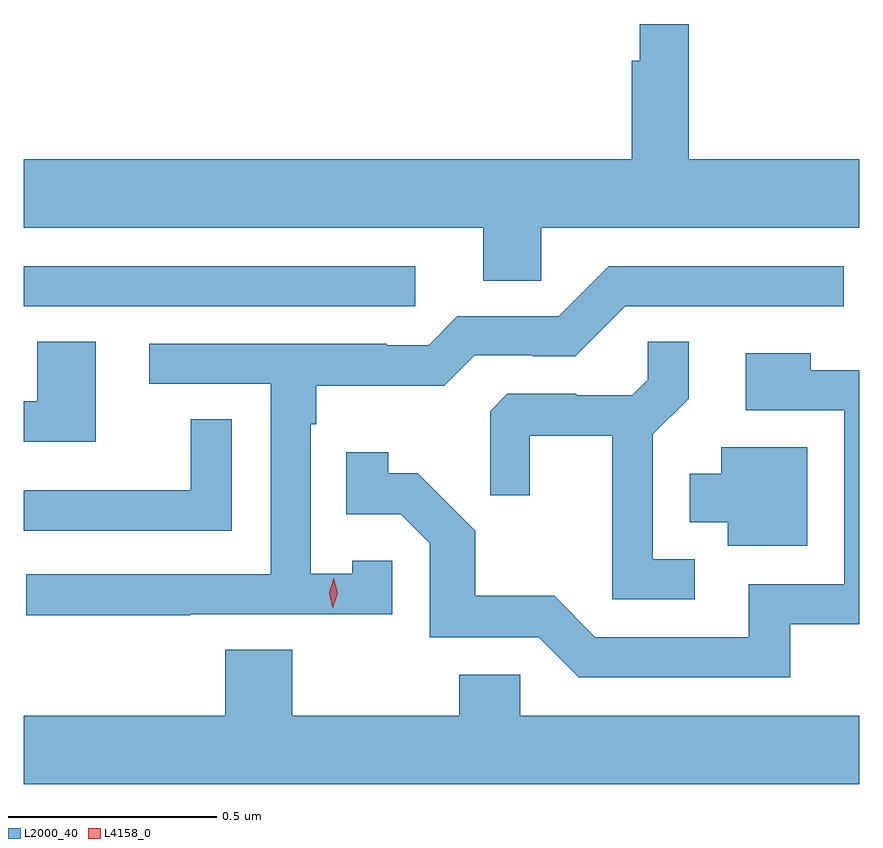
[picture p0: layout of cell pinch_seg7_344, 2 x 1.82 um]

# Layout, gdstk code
import gdstk
lib = gdstk.Library(unit=1e-6, precision=1e-09)
def R(c, l, rs):  # rectangles x0, y0, x1, y1
    for r in rs: c.add(gdstk.rectangle(r[:2], r[2:], *l))
def P(c, l, *ps):  # polygons
    for p in ps: c.add(gdstk.Polygon(p, *l))
L2000_40 = (2000, 40)
L4158_0 = (4158, 0)

pinch_seg7_344 = lib.new_cell('pinch_seg7_344')
R(pinch_seg7_344, L2000_40, [(449.367,1057.704,450.304,1057.8)])
P(pinch_seg7_344, L2000_40, [(450.606,1057.892),(451.367,1057.892),(451.367,1058.056),(450.959,1058.056),(450.959,1058.38),(450.842,1058.38),(450.842,1058.292),(450.823,1058.292),(450.823,1058.056),(449.367,1058.056),(449.367,1057.892),(450.467,1057.892),(450.467,1057.765),(450.606,1057.765)],
  [(449.765,1056.966),(450.249,1056.966),(450.249,1057.095),(450.153,1057.095),(450.153,1057.063),(450.054,1057.063),(450.054,1057.421),(450.067,1057.421),(450.067,1057.514),(450.374,1057.514),(450.447,1057.587),(450.586,1057.587),(450.586,1057.584),(450.687,1057.584),(450.807,1057.704),(451.33,1057.704),(451.33,1057.8),(450.768,1057.8),(450.648,1057.68),(450.405,1057.68),(450.336,1057.611),(450.236,1057.611),(450.236,1057.614),(449.667,1057.614),(449.667,1057.518),(449.958,1057.518),(449.958,1057.062),(449.373,1057.062),(449.373,1056.964),(449.765,1056.964)],
  [(449.539,1057.619),(449.399,1057.619),(449.399,1057.476),(449.367,1057.476),(449.367,1057.38),(449.539,1057.38)],
  [(450.973,1057.098),(450.873,1057.098),(450.873,1057.397),(450.959,1057.483),(450.959,1057.619),(450.861,1057.619),(450.861,1057.528),(450.824,1057.491),(450.69,1057.491),(450.69,1057.494),(450.525,1057.494),(450.484,1057.453),(450.484,1057.251),(450.578,1057.251),(450.578,1057.394),(450.776,1057.394),(450.776,1057.002),(450.973,1057.002)],
  [(451.202,1056.942),(451.367,1056.942),(451.367,1057.551),(451.251,1057.551),(451.251,1057.591),(451.095,1057.591),(451.095,1057.455),(451.332,1057.455),(451.332,1057.038),(451.103,1057.038),(451.103,1056.912),(450.735,1056.912),(450.637,1057.011),(450.448,1057.011),(450.448,1057.166),(450.31,1057.304),(450.24,1057.304),(450.24,1057.354),(450.139,1057.354),(450.139,1057.206),(450.27,1057.206),(450.339,1057.137),(450.339,1056.912),(450.6,1056.912),(450.696,1056.816),(451.202,1056.816)],
  [(449.865,1057.433),(449.767,1057.433),(449.767,1057.263),(449.371,1057.263),(449.371,1057.262),(449.367,1057.262),(449.367,1057.167),(449.865,1057.167)],
  [(451.243,1057.366),(451.037,1057.366),(451.037,1057.303),(450.962,1057.303),(450.962,1057.187),(451.052,1057.187),(451.052,1057.13),(451.243,1057.13)],
  [(451.367,1056.724),(450.555,1056.724),(450.555,1056.822),(450.409,1056.822),(450.409,1056.724),(450.009,1056.724),(450.009,1056.881),(449.849,1056.881),(449.849,1056.724),(449.367,1056.724),(449.367,1056.56),(451.367,1056.56)])
P(pinch_seg7_344, L4158_0, [(450.107,1056.981),(450.107,1056.981),(450.098,1057.018),(450.109,1057.053),(450.109,1057.053),(450.109,1057.053),(450.118,1057.017),(450.107,1056.981)])

lib.write_gds('pinch_seg7_344.gds')
